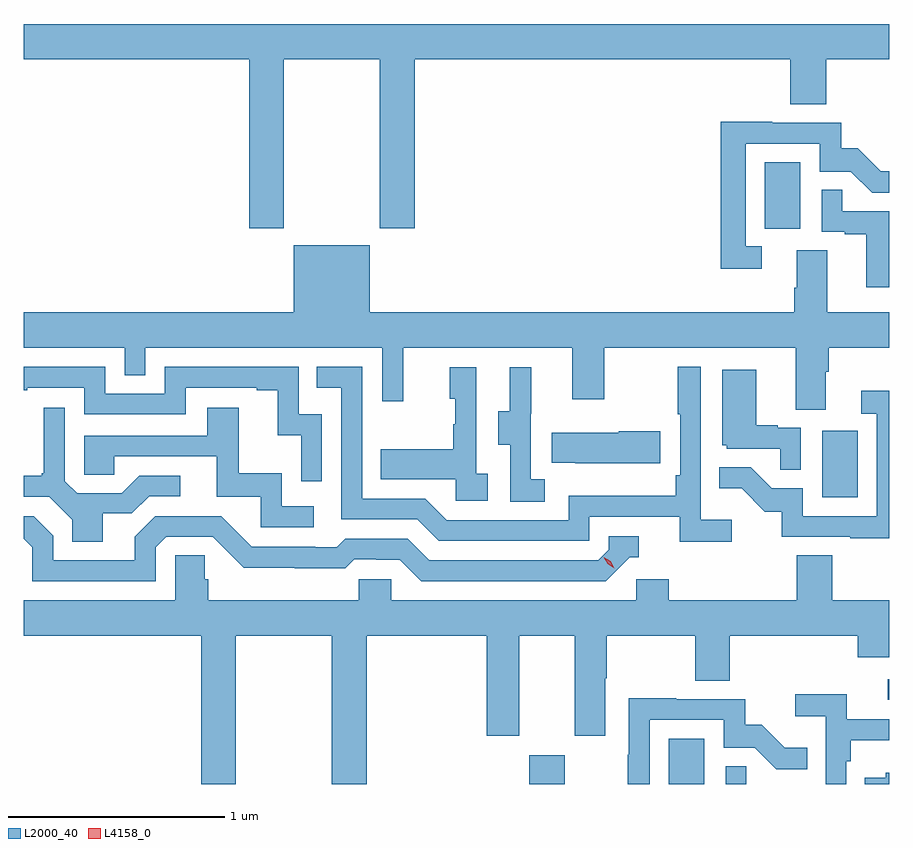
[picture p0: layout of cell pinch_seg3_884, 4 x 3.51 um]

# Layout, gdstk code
import gdstk
lib = gdstk.Library(unit=1e-6, precision=1e-09)
def R(c, l, rs):  # rectangles x0, y0, x1, y1
    for r in rs: c.add(gdstk.rectangle(r[:2], r[2:], *l))
def P(c, l, *ps):  # polygons
    for p in ps: c.add(gdstk.Polygon(p, *l))
L2000_40 = (2000, 40)
L4158_0 = (4158, 0)

pinch_seg3_884 = lib.new_cell('pinch_seg3_884')
R(pinch_seg3_884, L2000_40, [(879.515,697.567,879.679,697.699), (880.16,697.567,880.324,697.777), (880.422,697.567,880.517,697.649), (881.171,697.956,881.178,698.052), (880.868,698.892,881.032,699.199), (880.604,700.134,880.768,700.441)])
P(pinch_seg3_884, L2000_40, [(878.379,700.916),(878.824,700.916),(878.824,700.137),(878.984,700.137),(878.984,700.916),(880.721,700.916),(880.721,700.708),(880.886,700.708),(880.886,700.916),(881.178,700.916),(881.178,701.08),(877.178,701.08),(877.178,700.916),(878.219,700.916),(878.219,700.137),(878.379,700.137)],
  [(880.588,700.053),(880.515,700.053),(880.515,700.527),(880.857,700.527),(880.857,700.398),(881.001,700.398),(881.099,700.3),(881.178,700.3),(881.178,700.399),(881.139,700.399),(881.032,700.506),(880.956,700.506),(880.956,700.623),(880.637,700.623),(880.637,700.628),(880.399,700.628),(880.399,699.948),(880.588,699.948)],
  [(881.178,700.215),(880.961,700.215),(880.961,700.313),(880.866,700.313),(880.866,700.119),(880.973,700.119),(880.973,700.107),(881.072,700.107),(881.072,699.864),(881.178,699.864)],
  [(880.885,699.472),(880.898,699.472),(880.898,699.584),(881.178,699.584),(881.178,699.748),(880.891,699.748),(880.891,700.034),(880.751,700.034),(880.751,699.86),(880.739,699.86),(880.739,699.748),(878.776,699.748),(878.776,700.057),(878.426,700.057),(878.426,699.748),(877.178,699.748),(877.178,699.584),(877.644,699.584),(877.644,699.457),(877.74,699.457),(877.74,699.584),(878.835,699.584),(878.835,699.336),(878.933,699.336),(878.933,699.584),(879.713,699.584),(879.713,699.345),(879.861,699.345),(879.861,699.584),(880.745,699.584),(880.745,699.298),(880.885,699.298)],
  [(880.45,698.788),(880.308,698.788),(880.308,699.496),(880.2,699.496),(880.2,699.277),(880.212,699.277),(880.212,698.995),(880.192,698.995),(880.192,698.899),(879.696,698.899),(879.696,698.787),(879.132,698.787),(879.033,698.886),(878.742,698.886),(878.742,699.495),(878.533,699.495),(878.533,699.399),(878.646,699.399),(878.646,698.79),(878.996,698.79),(879.095,698.691),(879.792,698.691),(879.792,698.802),(880.211,698.802),(880.211,698.686),(880.45,698.686)],
  [(878.556,699.276),(878.448,699.276),(878.448,699.495),(877.83,699.495),(877.83,699.372),(877.554,699.372),(877.554,699.495),(877.178,699.495),(877.178,699.387),(877.195,699.387),(877.195,699.399),(877.458,699.399),(877.458,699.276),(877.926,699.276),(877.926,699.399),(878.255,699.399),(878.255,699.387),(878.351,699.387),(878.351,699.179),(878.46,699.179),(878.46,698.967),(878.556,698.967)],
  [(879.322,699.002),(879.27,699.002),(879.27,699.493),(879.146,699.493),(879.146,699.348),(879.172,699.348),(879.172,699.23),(879.162,699.23),(879.162,699.115),(878.827,699.115),(878.827,698.975),(879.174,698.975),(879.174,698.877),(879.322,698.877)],
  [(879.586,698.975),(879.522,698.975),(879.522,699.279),(879.524,699.279),(879.524,699.493),(879.425,699.493),(879.425,699.291),(879.371,699.291),(879.371,699.136),(879.426,699.136),(879.426,698.872),(879.586,698.872)],
  [(880.77,699.213),(880.664,699.213),(880.664,699.226),(880.564,699.226),(880.564,699.481),(880.406,699.481),(880.406,699.132),(880.428,699.132),(880.428,699.117),(880.675,699.117),(880.675,699.019),(880.77,699.019)],
  [(881.178,699.385),(881.049,699.385),(881.049,699.279),(881.121,699.279),(881.121,698.805),(880.779,698.805),(880.779,698.934),(880.635,698.934),(880.537,699.032),(880.393,699.032),(880.393,698.933),(880.497,698.933),(880.604,698.826),(880.681,698.826),(880.681,698.709),(880.999,698.709),(880.999,698.704),(881.178,698.704)],
  [(877.543,698.818),(877.678,698.818),(877.758,698.898),(877.9,698.898),(877.9,698.991),(877.712,698.991),(877.631,698.91),(877.425,698.91),(877.368,698.967),(877.368,699.307),(877.271,699.307),(877.271,699.004),(877.26,699.004),(877.26,698.992),(877.178,698.992),(877.178,698.895),(877.296,698.895),(877.403,698.788),(877.403,698.686),(877.543,698.686)],
  [(878.518,698.85),(878.37,698.85),(878.37,699.004),(878.171,699.004),(878.171,699.307),(878.027,699.307),(878.027,699.177),(877.458,699.177),(877.458,698.997),(877.595,698.997),(877.595,699.081),(878.069,699.081),(878.069,698.895),(878.274,698.895),(878.274,698.754),(878.518,698.754)],
  [(880.12,699.198),(879.929,699.198),(879.929,699.19),(879.619,699.19),(879.619,699.053),(879.727,699.053),(879.727,699.05),(880.12,699.05)],
  [(877.788,698.661),(877.836,698.709),(878.052,698.709),(878.194,698.567),(878.43,698.567),(878.43,698.565),(878.663,698.565),(878.705,698.607),(878.808,698.607),(878.808,698.604),(878.915,698.604),(879.014,698.505),(879.867,698.505),(879.978,698.616),(880.021,698.616),(880.021,698.712),(879.882,698.712),(879.882,698.649),(879.834,698.601),(879.051,698.601),(878.952,698.7),(878.663,698.7),(878.624,698.661),(878.525,698.661),(878.525,698.664),(878.232,698.664),(878.091,698.805),(877.785,698.805),(877.691,698.711),(877.691,698.601),(877.314,698.601),(877.314,698.715),(877.224,698.805),(877.178,698.805),(877.178,698.701),(877.218,698.661),(877.218,698.505),(877.788,698.505)],
  [(878.877,698.514),(878.727,698.514),(878.727,698.416),(878.03,698.416),(878.03,698.514),(878.015,698.514),(878.015,698.624),(877.878,698.624),(877.878,698.416),(877.178,698.416),(877.178,698.252),(877.997,698.252),(877.997,697.567),(878.157,697.567),(878.157,698.252),(878.602,698.252),(878.602,697.567),(878.762,697.567),(878.762,698.252),(879.317,698.252),(879.317,697.791),(879.469,697.791),(879.469,698.252),(879.725,698.252),(879.725,697.791),(879.865,697.791),(879.865,698.056),(879.873,698.056),(879.873,698.252),(880.282,698.252),(880.282,698.044),(880.442,698.044),(880.442,698.252),(881.033,698.252),(881.033,698.154),(881.178,698.154),(881.178,698.416),(880.916,698.416),(880.916,698.624),(880.751,698.624),(880.751,698.416),(880.16,698.416),(880.16,698.514),(880.008,698.514),(880.008,698.416),(878.877,698.416)],
  [(880.98,697.673),(881,697.673),(881,697.769),(881.178,697.769),(881.178,697.866),(880.982,697.866),(880.982,697.982),(880.743,697.982),(880.743,697.88),(880.884,697.88),(880.884,697.567),(880.98,697.567)],
  [(880.071,697.863),(880.413,697.863),(880.413,697.734),(880.557,697.734),(880.655,697.636),(880.799,697.636),(880.799,697.735),(880.695,697.735),(880.588,697.842),(880.512,697.842),(880.512,697.959),(880.193,697.959),(880.193,697.964),(879.975,697.964),(879.975,697.703),(879.97,697.703),(879.97,697.567),(880.071,697.567)],
  [(881.178,697.618),(881.163,697.618),(881.163,697.597),(881.065,697.597),(881.065,697.567),(881.178,697.567)])
P(pinch_seg3_884, L4158_0, [(879.907,698.564),(879.876,698.584),(879.859,698.616),(879.859,698.616),(879.859,698.616),(879.89,698.597),(879.907,698.564),(879.907,698.564)])

lib.write_gds('pinch_seg3_884.gds')
